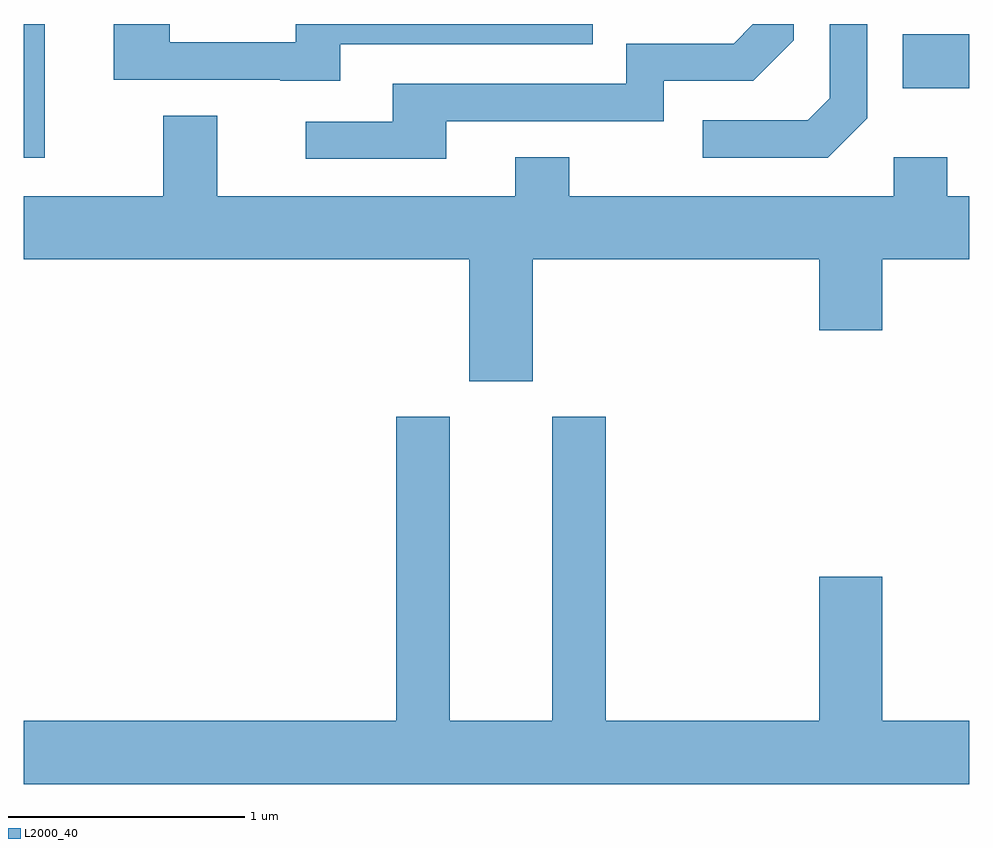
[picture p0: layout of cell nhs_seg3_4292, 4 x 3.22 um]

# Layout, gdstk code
import gdstk
lib = gdstk.Library(unit=1e-6, precision=1e-09)
def R(c, l, rs):  # rectangles x0, y0, x1, y1
    for r in rs: c.add(gdstk.rectangle(r[:2], r[2:], *l))
def P(c, l, *ps):  # polygons
    for p in ps: c.add(gdstk.Polygon(p, *l))
L2000_40 = (2000, 40)

nhs_seg3_4292 = lib.new_cell('nhs_seg3_4292')
R(nhs_seg3_4292, L2000_40, [(311.611,1135.326,311.699,1135.892), (315.331,1135.621,315.611,1135.849)])
P(nhs_seg3_4292, L2000_40, [(312.949,1135.806),(314.018,1135.806),(314.018,1135.892),(312.761,1135.892),(312.761,1135.814),(312.229,1135.814),(312.229,1135.892),(311.991,1135.892),(311.991,1135.656),(312.695,1135.656),(312.695,1135.651),(312.949,1135.651)],
  [(315.179,1135.494),(315.179,1135.892),(315.021,1135.892),(315.021,1135.577),(314.929,1135.484),(314.483,1135.484),(314.483,1135.326),(315.012,1135.326)],
  [(313.399,1135.481),(314.319,1135.481),(314.319,1135.651),(314.697,1135.651),(314.869,1135.824),(314.869,1135.892),(314.696,1135.892),(314.614,1135.809),(314.161,1135.809),(314.161,1135.639),(313.171,1135.639),(313.171,1135.479),(312.803,1135.479),(312.803,1135.321),(313.399,1135.321)],
  [(313.764,1134.896),(314.976,1134.896),(314.976,1134.596),(315.244,1134.596),(315.244,1134.896),(315.611,1134.896),(315.611,1135.164),(315.519,1135.164),(315.519,1135.329),(315.291,1135.329),(315.291,1135.164),(313.919,1135.164),(313.919,1135.329),(313.691,1135.329),(313.691,1135.164),(312.429,1135.164),(312.429,1135.504),(312.201,1135.504),(312.201,1135.164),(311.611,1135.164),(311.611,1134.896),(313.496,1134.896),(313.496,1134.381),(313.764,1134.381)],
  [(315.611,1132.944),(315.244,1132.944),(315.244,1133.554),(314.976,1133.554),(314.976,1132.944),(314.074,1132.944),(314.074,1134.229),(313.846,1134.229),(313.846,1132.944),(313.414,1132.944),(313.414,1134.229),(313.186,1134.229),(313.186,1132.944),(311.611,1132.944),(311.611,1132.676),(315.611,1132.676)])

lib.write_gds('nhs_seg3_4292.gds')
